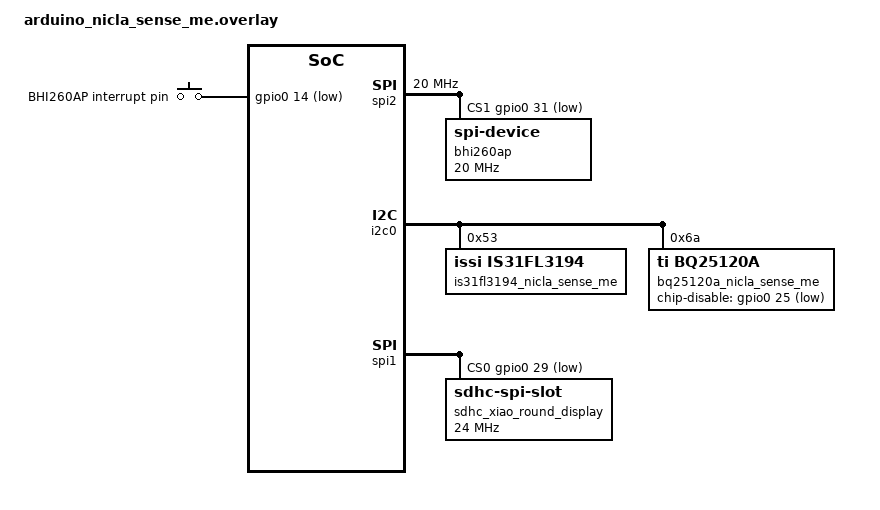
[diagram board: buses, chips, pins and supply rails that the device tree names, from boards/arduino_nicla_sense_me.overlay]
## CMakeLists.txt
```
#-------------------------------------------------------------------------------
# Zephyr Example Application
#
# Copyright (c) 2021 Nordic Semiconductor ASA
# SPDX-License-Identifier: Apache-2.0

cmake_minimum_required(VERSION 3.13.1)
find_package(Zephyr REQUIRED HINTS $ENV{ZEPHYR_BASE})

project(app LANGUAGES C)

target_include_directories(app PRIVATE src)

add_subdirectory(src/app)
add_subdirectory(src/bluetooth)
add_subdirectory(src/bhi_common)
add_subdirectory(src/bhi_euler)
add_subdirectory(src/bhi_klio)
add_subdirectory(src/bhi_acc_gyro)
add_subdirectory(src/sensors)
add_subdirectory(src/nicla_zbus)
add_subdirectory(src/nicla_sd)

target_sources(app PRIVATE src/main.c)
```

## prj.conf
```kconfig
# This file contains selected Kconfig options for the application.

CONFIG_BOOT_DELAY=1000
CONFIG_BOOT_BANNER=n

CONFIG_MAIN_STACK_SIZE=2048

# enabling State Machine Framework
CONFIG_SMF=y

# enabling LED driver
CONFIG_LED=y

# enable charger
CONFIG_CHARGER=y
CONFIG_CHARGER_LOG_LEVEL_DBG=y
CONFIG_BQ25120A_ENABLE_LDO_ON_STARTUP=y
CONFIG_BQ25120A_LDO_STARTUP_VALUE=33

# enabling BHy2 sensor API
CONFIG_BHI260AP=y

# enabling SPI
CONFIG_SPI=y
# Override a driver limitation in nrf52832
CONFIG_SOC_NRF52832_ALLOW_SPIM_DESPITE_PAN_58=y

# enabling SD File System
CONFIG_DISK_ACCESS=y
CONFIG_FILE_SYSTEM=y
CONFIG_FAT_FILESYSTEM_ELM=y
CONFIG_SDMMC_SUBSYS=y
CONFIG_FS_FATFS_LFN=y

# enabling newlib C and printing floats
CONFIG_NEWLIB_LIBC=y
CONFIG_NEWLIB_LIBC_FLOAT_PRINTF=y

# enabling FPU
CONFIG_FPU=y

# enabling Bluetooth
CONFIG_BT=y
CONFIG_BT_PERIPHERAL=y
CONFIG_BT_DEVICE_NAME="Nicla Sense ME"
CONFIG_BT_DEVICE_APPEARANCE=5184
# 5184 means Generic Outdoor Sports Activity. Complete list of appearance values can be found on the Bluetooth website under "assigned values" : https://www.bluetooth.com/specifications/assigned-numbers/
CONFIG_BT_MAX_CONN=1
CONFIG_BT_MAX_PAIRED=1
CONFIG_BT_GATT_CLIENT=y
CONFIG_BT_L2CAP_TX_MTU=247
CONFIG_BT_BUF_ACL_RX_SIZE=251

# enabling bonding
CONFIG_BT_SETTINGS=y
CONFIG_FLASH=y
CONFIG_FLASH_PAGE_LAYOUT=y
CONFIG_FLASH_MAP=y
CONFIG_NVS=y
CONFIG_SETTINGS=y

# Config for enabling ZBus
CONFIG_ZBUS=y
CONFIG_ZBUS_MSG_SUBSCRIBER=y
CONFIG_HEAP_MEM_POOL_SIZE=1024
CONFIG_ZBUS_MSG_SUBSCRIBER_NET_BUF_POOL_SIZE=32
CONFIG_ZBUS_CHANNEL_NAME=y
#CONFIG_ZBUS_OBSERVER_NAME=y
```

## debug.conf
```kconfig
# Copyright (c) 2021 Nordic Semiconductor ASA
# SPDX-License-Identifier: Apache-2.0
#
# This is a Kconfig fragment which can be used to enable debug-related options
# in the application. See the README for more details.

# compiler
CONFIG_DEBUG_OPTIMIZATIONS=y

# logging
CONFIG_LOG=y
CONFIG_APP_LOG_LEVEL_DBG=y
CONFIG_LOG_INFO_COLOR_GREEN=y
CONFIG_LOG_MODE_IMMEDIATE=y
```

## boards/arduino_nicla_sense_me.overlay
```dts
#include <zephyr/dt-bindings/led/led.h>
#include <freq.h>
#include <zephyr/dt-bindings/display/panel.h>

/ {
	gpin {
		compatible = "gpio-keys";
		bhi260ap_int: bhi260ap_int {
			gpios = <&gpio0 14 GPIO_ACTIVE_LOW>;
			label = "BHI260AP interrupt pin";
		};
	};

	aliases {
        bhi260apint = &bhi260ap_int;
		is31fl3194 = &is31fl3194_nicla_sense_me;
		bq25120a = &bq25120a_nicla_sense_me;
    };
};

&spi2 {
	clock-frequency = < 20000000 >;
    cs-gpios = <&gpio0 26 GPIO_ACTIVE_LOW>, <&gpio0 31 GPIO_ACTIVE_LOW>;
	bhi260ap: bhi260ap@1 {
		compatible = "spi-device";
		spi-max-frequency = < 20000000 >;
		reg = <1>;
	};
};

/* I2C0 in datasheet */
&i2c0 {
	status = "okay";
	is31fl3194_nicla_sense_me: is31fl3194@53 {
        compatible = "issi,is31fl3194";
		status = "okay";
		reg = <0x53>;
		brightness = <8>;

		rgb_led {
			label = "RGB LED";
			index = <0>;
			color-mapping = <LED_COLOR_ID_RED>,<LED_COLOR_ID_GREEN>,<LED_COLOR_ID_BLUE>;
		  };
    };

	bq25120a_nicla_sense_me: bq25120a@6a {
		compatible = "ti,bq25120a";
		status = "okay";
		reg = <0x6a>;
		chip-disable-gpios = <&gpio0 25 GPIO_ACTIVE_LOW>;
	};
};

// i2c1 cannot be used with spi1
&i2c1 {
	status = "disabled";
};

&spi1 {
	status = "okay";
	cs-gpios = <&gpio0 29 (GPIO_ACTIVE_LOW | GPIO_PULL_UP)>, <&gpio0 20 GPIO_ACTIVE_LOW>;
	anomaly-58-workaround;

	sdhc_xiao_round_display: sdhc@0 {
		compatible = "zephyr,sdhc-spi-slot";
		reg = <0>;
		status = "okay";
		mmc {
			compatible = "zephyr,sdmmc-disk";
			status = "okay";
		};
		spi-max-frequency = <DT_FREQ_M(24)>;
	};
};

&uicr {
	/delete-property/ gpio-as-nreset;
};
```

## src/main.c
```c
#include <zephyr/kernel.h>
#include <zephyr/logging/log.h>

#include <app_version.h>
#include "app/app.h"
#include "bluetooth/ble_manager.h"
#include "nicla_sd/nicla_sd.h"
#include "sensors/sensor_buffer.h"

#include <zephyr/drivers/led.h>
#include <zephyr/drivers/charger.h>

LOG_MODULE_REGISTER(main, CONFIG_APP_LOG_LEVEL);

static const struct device *led_driver_dev = DEVICE_DT_GET_ANY(issi_is31fl3194);

static const struct device *charger_dev = DEVICE_DT_GET_ANY(ti_bq25120a);

#define USER_BUTTON DT_ALIAS(sw0)
static const struct gpio_dt_spec user_button =
	GPIO_DT_SPEC_GET_OR(USER_BUTTON, gpios, {0});

static struct gpio_callback user_button_cb_data;

void user_button_pressed(const struct device *dev, struct gpio_callback *cb,
		    uint32_t pins)
{
	LOG_DBG("User button pressed at %" PRIu32, k_cycle_get_32());
}

int main(void)
{

	LOG_INF("Zephyr Example Application %s", APP_VERSION_STRING);

	    if (!gpio_is_ready_dt(&user_button))
    {
        LOG_ERR("Error: user_button not ready");
    }

    int ret = gpio_pin_configure_dt(&user_button, GPIO_INPUT);
    if (ret != 0)
    {
        LOG_ERR("Error %i: failed to configure user_button", ret);
    }

    ret = gpio_pin_interrupt_configure_dt(&user_button,
					      GPIO_INT_EDGE_TO_ACTIVE);
	if (ret != 0) {
		printk("Error %d: failed to configure interrupt on %s pin %d\n",
			ret, user_button.port->name, user_button.pin);
		return 0;
	}

	gpio_init_callback(&user_button_cb_data, user_button_pressed, BIT(user_button.pin));
	gpio_add_callback(user_button.port, &user_button_cb_data);

	if (!device_is_ready(led_driver_dev)) {
		LOG_ERR("LED driver not ready!");
	}

	if (!device_is_ready(charger_dev)) {
		LOG_ERR("Charger not ready!");
	}

	ble_manager_init();
	ble_manager_start_advertising();

	sensor_buffer_init();

	app_init();

	return app_run();
}
```
